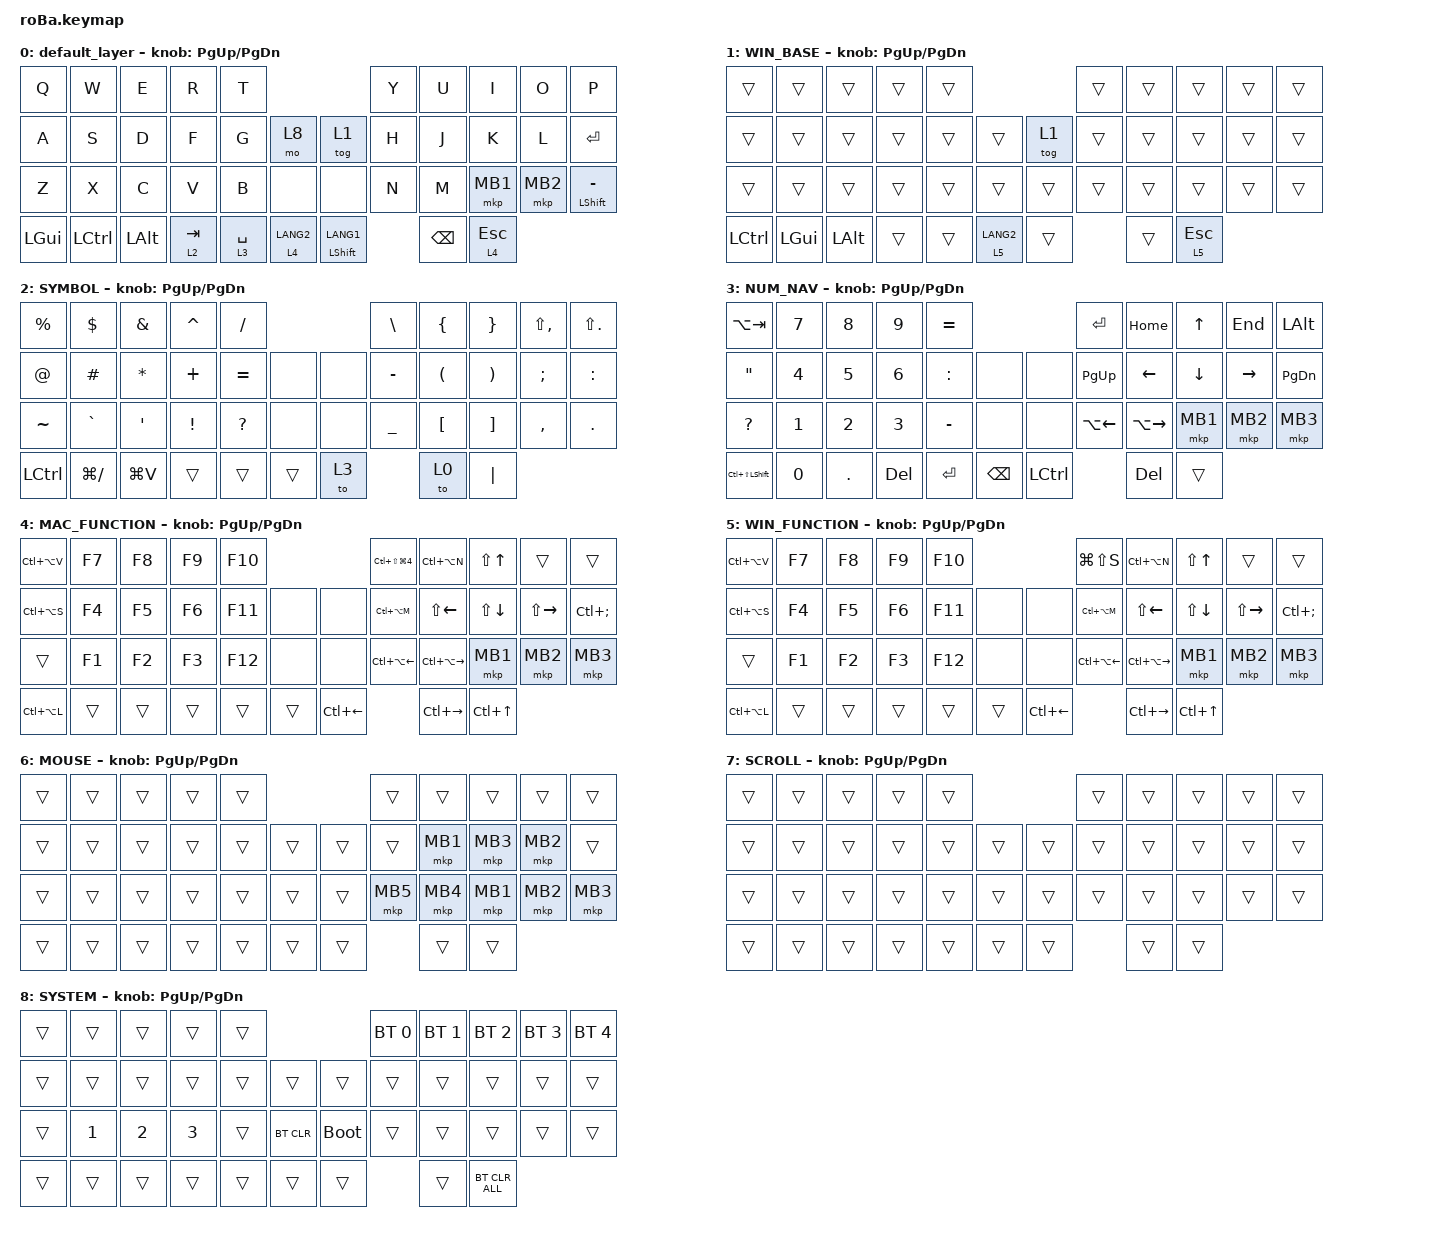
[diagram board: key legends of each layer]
#include <behaviors.dtsi>
#include <dt-bindings/zmk/bt.h>
#include <dt-bindings/zmk/keys.h>
#include <dt-bindings/zmk/pointing.h>

&mt {
    flavor = "balanced";
    quick-tap-ms = <0>;
};

&trackball {
    scroll-layers = <4 5 7>;
};

/ {

    keymap {
        compatible = "zmk,keymap";

        default_layer {
            bindings = <
&kp Q              &kp W             &kp E             &kp R             &kp T                                      &kp Y             &kp U             &kp I             &kp O             &kp P
&kp A              &kp S             &kp D             &kp F             &kp G             &mo 8      &tog 1         &kp H             &kp J             &kp K             &kp L             &kp ENTER
&kp Z              &kp X             &kp C             &kp V             &kp B             &none      &none          &kp N             &kp M             &mkp MB1          &mkp MB2          &mt LEFT_SHIFT MINUS
&kp LEFT_GUI       &kp LEFT_CONTROL  &kp LEFT_ALT      &lt 2 TAB         &lt 3 SPACE        &lt 4 LANG2  &mt LEFT_SHIFT LANG1  &kp BACKSPACE     &lt 4 ESC
            >;

            sensor-bindings = <&inc_dec_kp PG_UP PAGE_DOWN>;
        };

        WIN_BASE {
            bindings = <
&trans            &trans        &trans        &trans  &trans                      &trans  &trans    &trans  &trans  &trans
&trans            &trans        &trans        &trans  &trans  &trans      &tog 1  &trans  &trans    &trans  &trans  &trans
&trans            &trans        &trans        &trans  &trans  &trans      &trans  &trans  &trans    &trans  &trans  &trans
&kp LEFT_CONTROL  &kp LEFT_GUI  &kp LEFT_ALT  &trans  &trans  &lt 5 LANG2  &trans  &trans                 &lt 5 ESC
            >;

            sensor-bindings = <&inc_dec_kp PG_UP PAGE_DOWN>;
        };

        SYMBOL {
            bindings = <
&kp PERCENT         &kp DOLLAR          &kp AMPERSAND       &kp CARET           &kp SLASH                                    &kp BACKSLASH        &kp LEFT_BRACE       &kp RIGHT_BRACE      &kp LS(COMMA)       &kp LS(DOT)
&kp AT_SIGN         &kp HASH            &kp ASTERISK        &kp PLUS            &kp EQUAL          &none      &none           &kp MINUS            &kp LEFT_PARENTHESIS &kp RIGHT_PARENTHESIS &kp SEMICOLON       &kp COLON
&kp TILDE           &kp GRAVE           &kp SQT             &kp EXCLAMATION     &kp QUESTION       &none      &none           &kp UNDERSCORE       &kp LEFT_BRACKET     &kp RIGHT_BRACKET    &kp COMMA           &kp DOT
&kp LEFT_CONTROL    &kp LG(SLASH)       &kp LG(V)           &trans              &trans             &trans                &to 3                &to 0                &kp PIPE
            >;

            sensor-bindings = <&inc_dec_kp PG_UP PAGE_DOWN>;
        };

        NUM_NAV {
            bindings = <
&kp LA(TAB)         &kp NUMBER_7        &kp NUMBER_8        &kp NUMBER_9        &kp EQUAL                                    &kp ENTER            &kp HOME             &kp UP_ARROW         &kp END              &kp LEFT_ALT
&kp DOUBLE_QUOTES   &kp NUMBER_4        &kp NUMBER_5        &kp NUMBER_6        &kp COLON          &none      &none           &kp PAGE_UP          &kp LEFT_ARROW       &kp DOWN_ARROW       &kp RIGHT_ARROW      &kp PAGE_DOWN
&kp QUESTION        &kp NUMBER_1        &kp NUMBER_2        &kp NUMBER_3        &kp MINUS          &none      &none           &kp LA(LEFT_ARROW)   &kp LA(RIGHT_ARROW)  &mkp MB1             &mkp MB2             &mkp MB3
&kp LC(LS(LEFT_SHIFT)) &kp NUMBER_0     &kp DOT             &kp DEL             &kp ENTER          &kp BACKSPACE         &kp LEFT_CONTROL     &kp DEL              &trans
            >;

            sensor-bindings = <&inc_dec_kp PG_UP PAGE_DOWN>;
        };

        MAC_FUNCTION {
            bindings = <
&kp LC(LA(V))       &kp F7             &kp F8             &kp F9             &kp F10                                     &kp LC(LS(LG(NUMBER_4))) &kp LC(LA(N))     &kp LS(UP_ARROW)     &trans               &trans
&kp LC(LA(S))       &kp F4             &kp F5             &kp F6             &kp F11           &none      &none           &kp LC(LA(M))        &kp LS(LEFT_ARROW)   &kp LS(DOWN_ARROW)   &kp LS(RIGHT_ARROW)  &kp LC(SEMICOLON)
&trans              &kp F1             &kp F2             &kp F3             &kp F12           &none      &none           &kp LC(LA(LEFT_ARROW)) &kp LC(LA(RIGHT_ARROW)) &mkp MB1          &mkp MB2             &mkp MB3
&kp LC(LA(L))       &trans             &trans             &trans              &trans            &trans                &kp LC(LEFT_ARROW)   &kp LC(RIGHT_ARROW)  &kp LC(UP_ARROW)
            >;

            sensor-bindings = <&inc_dec_kp PG_UP PAGE_DOWN>;
        };

        WIN_FUNCTION {
            bindings = <
&kp LC(LA(V))       &kp F7             &kp F8             &kp F9             &kp F10                                     &kp LG(LS(S))        &kp LC(LA(N))     &kp LS(UP_ARROW)     &trans               &trans
&kp LC(LA(S))       &kp F4             &kp F5             &kp F6             &kp F11           &none      &none           &kp LC(LA(M))        &kp LS(LEFT_ARROW)   &kp LS(DOWN_ARROW)   &kp LS(RIGHT_ARROW)  &kp LC(SEMICOLON)
&trans              &kp F1             &kp F2             &kp F3             &kp F12           &none      &none           &kp LC(LA(LEFT_ARROW)) &kp LC(LA(RIGHT_ARROW)) &mkp MB1          &mkp MB2             &mkp MB3
&kp LC(LA(L))       &trans             &trans             &trans              &trans            &trans                &kp LC(LEFT_ARROW)   &kp LC(RIGHT_ARROW)  &kp LC(UP_ARROW)
            >;

            sensor-bindings = <&inc_dec_kp PG_UP PAGE_DOWN>;
        };

        MOUSE {
            bindings = <
&trans  &trans  &trans  &trans  &trans                      &trans  &trans    &trans    &trans    &trans
&trans  &trans  &trans  &trans  &trans  &trans      &trans  &trans  &mkp MB1  &mkp MB3  &mkp MB2  &trans
&trans  &trans  &trans  &trans  &trans  &trans      &trans  &mkp MB5  &mkp MB4  &mkp MB1  &mkp MB2  &mkp MB3
&trans  &trans  &trans  &trans  &trans  &trans      &trans  &trans                                &trans
            >;

            sensor-bindings = <&inc_dec_kp PG_UP PAGE_DOWN>;
        };

        SCROLL {
            bindings = <
&trans  &trans  &trans  &trans  &trans                      &trans  &trans  &trans  &trans  &trans
&trans  &trans  &trans  &trans  &trans  &trans      &trans  &trans  &trans  &trans  &trans  &trans
&trans  &trans  &trans  &trans  &trans  &trans      &trans  &trans  &trans  &trans  &trans  &trans
&trans  &trans  &trans  &trans  &trans  &trans      &trans  &trans                          &trans
            >;

            sensor-bindings = <&inc_dec_kp PG_UP PAGE_DOWN>;
        };

        SYSTEM {
            bindings = <
&trans  &trans        &trans        &trans        &trans                           &bt BT_SEL 0  &bt BT_SEL 1  &bt BT_SEL 2  &bt BT_SEL 3  &bt BT_SEL 4
&trans  &trans        &trans        &trans        &trans  &trans      &trans       &trans        &trans        &trans        &trans        &trans
&trans  &kp NUMBER_1  &kp NUMBER_2  &kp NUMBER_3  &trans  &bt BT_CLR  &bootloader  &trans        &trans        &trans        &trans        &trans
&trans  &trans        &trans        &trans        &trans  &trans      &trans       &trans                                                  &bt BT_CLR_ALL
            >;

            sensor-bindings = <&inc_dec_kp PG_UP PAGE_DOWN>;
        };
    };
};
